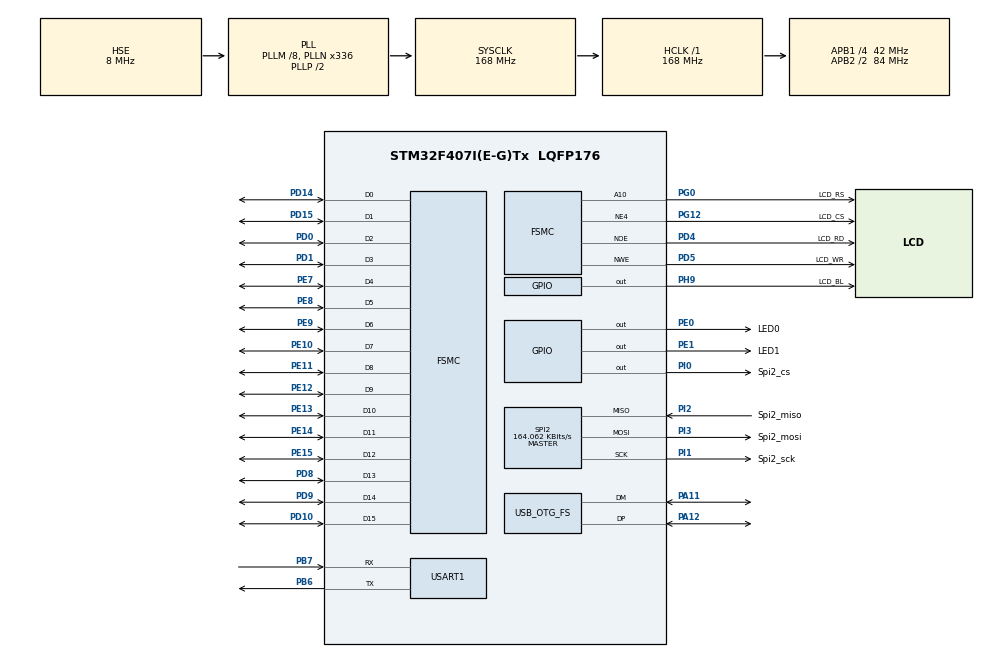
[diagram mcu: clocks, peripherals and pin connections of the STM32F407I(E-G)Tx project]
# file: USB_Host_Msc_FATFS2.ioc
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FATFS._FS_EXFAT=1
FATFS._FS_NORTC=1
FATFS._USE_LABEL=1
FATFS._USE_LFN=1
FATFS._USE_STRFUNC=1
FATFS._VOLUMES=2
FSMC.DataSetupTime1=60
FSMC.ExtendedAddressSetupTime1=9
FSMC.ExtendedDataSetupTime1=9
FSMC.ExtendedMode1=FSMC_EXTENDED_MODE_ENABLE
Mcu.Family=STM32F4
Mcu.Name=STM32F407I(E-G)Tx
Mcu.Package=LQFP176
NVIC.OTG_FS_IRQn=true\:1\:0\:true\:false\:true\:false
NVIC.PriorityGroup=NVIC_PRIORITYGROUP_2
PA11.Mode=Host_Only
PA11.Signal=USB_OTG_FS_DM
PA12.Mode=Host_Only
PA12.Signal=USB_OTG_FS_DP
PA13.Mode=Serial_Wire
PA13.Signal=SYS_JTMS-SWDIO
PA14.Mode=Serial_Wire
PA14.Signal=SYS_JTCK-SWCLK
PB6.Mode=Asynchronous
PB6.Signal=USART1_TX
PB7.Mode=Asynchronous
PB7.Signal=USART1_RX
PD0.Signal=FSMC_D2_DA2
PD1.Signal=FSMC_D3_DA3
PD10.Signal=FSMC_D15_DA15
PD14.Signal=FSMC_D0_DA0
PD15.Signal=FSMC_D1_DA1
PD4.GPIO_Label=LCD_RD
PD4.GPIO_PuPd=GPIO_PULLUP
PD4.Signal=FSMC_NOE
PD5.GPIO_Label=LCD_WR
PD5.GPIO_PuPd=GPIO_PULLUP
PD5.Signal=FSMC_NWE
PD8.Signal=FSMC_D13_DA13
PD9.Signal=FSMC_D14_DA14
PE0.GPIO_Label=LED0
PE0.GPIO_Speed=GPIO_SPEED_FREQ_HIGH
PE0.PinState=GPIO_PIN_SET
PE0.Signal=GPIO_Output
PE1.GPIO_Label=LED1
PE1.GPIO_Speed=GPIO_SPEED_FREQ_HIGH
PE1.PinState=GPIO_PIN_SET
PE1.Signal=GPIO_Output
PE10.Signal=FSMC_D7_DA7
PE11.Signal=FSMC_D8_DA8
PE12.Signal=FSMC_D9_DA9
PE13.Signal=FSMC_D10_DA10
PE14.Signal=FSMC_D11_DA11
PE15.Signal=FSMC_D12_DA12
PE7.Signal=FSMC_D4_DA4
PE8.Signal=FSMC_D5_DA5
PE9.Signal=FSMC_D6_DA6
PG0.GPIO_Label=LCD_RS
PG0.GPIO_PuPd=GPIO_PULLUP
PG0.Signal=FSMC_A10
PG12.GPIO_Label=LCD_CS
PG12.GPIO_PuPd=GPIO_PULLUP
PG12.Mode=NorPsramChipSelect4_1
PG12.Signal=FSMC_NE4
PH0-OSC_IN.Mode=HSE-External-Oscillator
PH0-OSC_IN.Signal=RCC_OSC_IN
PH1-OSC_OUT.Mode=HSE-External-Oscillator
PH1-OSC_OUT.Signal=RCC_OSC_OUT
PH9.GPIO_Label=LCD_BL
PH9.GPIO_Speed=GPIO_SPEED_FREQ_HIGH
PH9.PinState=GPIO_PIN_SET
PH9.Signal=GPIO_Output
PI0.GPIO_Label=Spi2_cs
PI0.GPIO_PuPd=GPIO_PULLUP
PI0.GPIO_Speed=GPIO_SPEED_FREQ_HIGH
PI0.PinState=GPIO_PIN_SET
PI0.Signal=GPIO_Output
PI1.GPIO_Label=Spi2_sck
PI1.GPIO_PuPd=GPIO_PULLUP
PI1.Mode=Full_Duplex_Master
PI1.Signal=SPI2_SCK
PI2.GPIO_Label=Spi2_miso
PI2.GPIO_PuPd=GPIO_PULLUP
PI2.Mode=Full_Duplex_Master
PI2.Signal=SPI2_MISO
PI3.GPIO_Label=Spi2_mosi
PI3.GPIO_PuPd=GPIO_PULLUP
PI3.Mode=Full_Duplex_Master
PI3.Signal=SPI2_MOSI
ProjectManager.HeapSize=0x200
ProjectManager.StackSize=0x400
ProjectManager.TargetToolchain=MDK-ARM V5
RCC.48MHZClocksFreq_Value=48000000
RCC.AHBFreq_Value=168000000
RCC.APB1CLKDivider=RCC_HCLK_DIV4
RCC.APB1Freq_Value=42000000
RCC.APB1TimFreq_Value=84000000
RCC.APB2CLKDivider=RCC_HCLK_DIV2
RCC.APB2Freq_Value=84000000
RCC.APB2TimFreq_Value=168000000
RCC.CortexFreq_Value=168000000
RCC.HCLKFreq_Value=168000000
RCC.HSE_VALUE=8000000
RCC.HSI_VALUE=16000000
RCC.LSE_VALUE=32768
RCC.PLLM=8
RCC.PLLN=336
RCC.PLLQ=7
RCC.SYSCLKFreq_VALUE=168000000
RCC.SYSCLKSource=RCC_SYSCLKSOURCE_PLLCLK
RCC.VCOOutputFreq_Value=336000000
SH.FSMC_A10.0=FSMC_A10,A10_1
SH.FSMC_D0_DA0.0=FSMC_D0,16b-d1
SH.FSMC_D10_DA10.0=FSMC_D10,16b-d1
SH.FSMC_D11_DA11.0=FSMC_D11,16b-d1
SH.FSMC_D12_DA12.0=FSMC_D12,16b-d1
SH.FSMC_D13_DA13.0=FSMC_D13,16b-d1
SH.FSMC_D14_DA14.0=FSMC_D14,16b-d1
SH.FSMC_D15_DA15.0=FSMC_D15,16b-d1
SH.FSMC_D1_DA1.0=FSMC_D1,16b-d1
SH.FSMC_D2_DA2.0=FSMC_D2,16b-d1
SH.FSMC_D3_DA3.0=FSMC_D3,16b-d1
SH.FSMC_D4_DA4.0=FSMC_D4,16b-d1
SH.FSMC_D5_DA5.0=FSMC_D5,16b-d1
SH.FSMC_D6_DA6.0=FSMC_D6,16b-d1
SH.FSMC_D7_DA7.0=FSMC_D7,16b-d1
SH.FSMC_D8_DA8.0=FSMC_D8,16b-d1
SH.FSMC_D9_DA9.0=FSMC_D9,16b-d1
SH.FSMC_NOE.0=FSMC_NOE,Lcd1
SH.FSMC_NWE.0=FSMC_NWE,Lcd1
SPI2.BaudRatePrescaler=SPI_BAUDRATEPRESCALER_256
SPI2.CLKPhase=SPI_PHASE_2EDGE
SPI2.CLKPolarity=SPI_POLARITY_HIGH
SPI2.CalculateBaudRate=164.062 KBits/s
SPI2.Direction=SPI_DIRECTION_2LINES
SPI2.Mode=SPI_MODE_MASTER
SPI2.VirtualType=VM_MASTER
USART1.VirtualMode=VM_ASYNC
USB_HOST.USBH_HandleTypeDef-MSC_FS=hUsbHostFS
USB_HOST.VirtualModeFS=Msc
USB_OTG_FS.VirtualMode=Host_Only
USB_OTG_FS.phy_itface=HCD_PHY_EMBEDDED
VP_FATFS_VS_Generic.Mode=User_defined
VP_USB_HOST_VS_USB_HOST_MSC_FS.Mode=MSC_FS
board=USB_Host_Msc_FATFS2

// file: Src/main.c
/**
  ******************************************************************************
  * @file           : main.c
  * @brief          : Main program body
  ******************************************************************************
  * This notice applies to any and all portions of this file
  * that are not between comment pairs USER CODE BEGIN and
  * USER CODE END. Other portions of this file, whether
  * inserted by the user or by software development tools
  * are owned by their respective copyright owners.
  *
  * Copyright (c) 2024 STMicroelectronics International N.V.
  * All rights reserved.
  *
  * Redistribution and use in source and binary forms, with or without
  * modification, are permitted, provided that the following conditions are met:
  *
  * 1. Redistribution of source code must retain the above copyright notice,
  *    this list of conditions and the following disclaimer.
  * 2. Redistributions in binary form must reproduce the above copyright notice,
  *    this list of conditions and the following disclaimer in the documentation
  *    and/or other materials provided with the distribution.
  * 3. Neither the name of STMicroelectronics nor the names of other
  *    contributors to this software may be used to endorse or promote products
  *    derived from this software without specific written permission.
  * 4. This software, including modifications and/or derivative works of this
  *    software, must execute solely and exclusively on microcontroller or
  *    microprocessor devices manufactured by or for STMicroelectronics.
  * 5. Redistribution and use of this software other than as permitted under
  *    this license is void and will automatically terminate your rights under
  *    this license.
  *
  * THIS SOFTWARE IS PROVIDED BY STMICROELECTRONICS AND CONTRIBUTORS "AS IS"
  * AND ANY EXPRESS, IMPLIED OR STATUTORY WARRANTIES, INCLUDING, BUT NOT
  * LIMITED TO, THE IMPLIED WARRANTIES OF MERCHANTABILITY, FITNESS FOR A
  * PARTICULAR PURPOSE AND NON-INFRINGEMENT OF THIRD PARTY INTELLECTUAL PROPERTY
  * RIGHTS ARE DISCLAIMED TO THE FULLEST EXTENT PERMITTED BY LAW. IN NO EVENT
  * SHALL STMICROELECTRONICS OR CONTRIBUTORS BE LIABLE FOR ANY DIRECT, INDIRECT,
  * INCIDENTAL, SPECIAL, EXEMPLARY, OR CONSEQUENTIAL DAMAGES (INCLUDING, BUT NOT
  * LIMITED TO, PROCUREMENT OF SUBSTITUTE GOODS OR SERVICES; LOSS OF USE, DATA,
  * OR PROFITS; OR BUSINESS INTERRUPTION) HOWEVER CAUSED AND ON ANY THEORY OF
  * LIABILITY, WHETHER IN CONTRACT, STRICT LIABILITY, OR TORT (INCLUDING
  * NEGLIGENCE OR OTHERWISE) ARISING IN ANY WAY OUT OF THE USE OF THIS SOFTWARE,
  * EVEN IF ADVISED OF THE POSSIBILITY OF SUCH DAMAGE.
  *
  ******************************************************************************
  */
#include "main.h"
#include "stm32f4xx_hal.h"
#include "fatfs.h"
#include "spi.h"
#include "usart.h"
#include "usb_host.h"
#include "gpio.h"
#include "fsmc.h"

/* USER CODE BEGIN Includes */
#include "lcd.h"
#include "stdio.h"
#include "delay.h"

#include "usbh_def.h"  //USBH_HandleTypeDef

#include "norflash.h"
#include "usbh_core.h"
#include "usbh_msc.h"
#include "exfuns.h"
/* USER CODE END Includes */

/* USER CODE BEGIN PV */
/* Private variables ---------------------------------------------------------*/
//lcd
uint8_t lcd_id[12];
uint16_t colors[12] = {WHITE, BLACK, BLUE, RED, MAGENTA, GREEN, CYAN, YELLOW, BRRED, GRAY, LGRAY, BROWN};
uint8_t color_index = 0;

//USBH_HandleTypeDef hUSBHost;    /* USB Host处理结构体
extern USBH_HandleTypeDef hUsbHostFS;    /* USB Host处理结构体 在usb_host.c中定义*/
uint8_t t = 0;
/* USER CODE END PV */

void SystemClock_Config(void);
void MX_USB_HOST_Process(void);

/* USER CODE BEGIN PFP */
/* Private function prototypes -----------------------------------------------*/

/* USER CODE END PFP */

int main(void)
{

  /* MCU Configuration----------------------------------------------------------*/

  /* Reset of all peripherals, Initializes the Flash interface and the Systick. */
  HAL_Init();

  /* Configure the system clock */
  SystemClock_Config();

  /* Initialize all configured peripherals */
  MX_GPIO_Init();
  MX_USART1_UART_Init();
  MX_USB_HOST_Init();
  MX_FSMC_Init();
  MX_SPI2_Init();
  MX_FATFS_Init();
  /* USER CODE BEGIN 2 */
  //lcd init
	delay_init(168);                    // 延时初始化
	lcd_init();                             // 初始化LCD
  sprintf((char *)lcd_id, "LCD ID:%04X", lcddev.id);  // 将LCD ID打印到lcd_id数组

	my_mem_init(SRAMIN);                /* 初始化内部SRAM内存池 */
	my_mem_init(SRAMCCM);               /* 初始化内部SRAMCCM内存池 */

	exfuns_init();                      /* 为fatfs相关变量申请内存 */

	lcd_show_string(30, 50, 200, 16, 16, "STM32", RED);
	lcd_show_string(30, 70, 200, 16, 16, "USB U Disk TEST", RED);
	lcd_show_string(30, 90, 200, 16, 16, "ATOM@ALIENTEK", RED);

	lcd_show_string(30, 110, 200, 16, 16, "USB Connecting...", RED);    /* 提示USB开始连接 */
  /* USER CODE END 2 */

  /* Infinite loop */
  /* USER CODE BEGIN WHILE */
  while (1)
  {
		//lcd test
		/*
		lcd_clear(colors[color_index]);  //清屏

		lcd_show_string(10, 40, 240, 32, 32, "STM32", RED);
		lcd_show_string(10, 80, 240, 24, 24, "TFTLCD TEST", RED);
		lcd_show_string(10, 110, 240, 16, 16, "ATOM@ALIENTEK", RED);
		lcd_show_string(10, 130, 240, 16, 16, (char *)lcd_id, RED); // 显示LCD ID
		color_index++;

		if (color_index == 12){
				color_index = 0;
		}
		HAL_GPIO_TogglePin(LED0_GPIO_Port, LED0_Pin); // LED0闪烁
		HAL_Delay(1000);
		*/
		//USBH_Process(&hUsbHostFS);
		delay_ms(10);
		t++;

		if (t == 50)
		{
				t = 0;
				HAL_GPIO_TogglePin(LED0_GPIO_Port, LED0_Pin);
		}
  /* USER CODE END WHILE */
    MX_USB_HOST_Process();

  }

}

void SystemClock_Config(void)
{

  RCC_OscInitTypeDef RCC_OscInitStruct;
  RCC_ClkInitTypeDef RCC_ClkInitStruct;

    /**Configure the main internal regulator output voltage
    */
  __HAL_RCC_PWR_CLK_ENABLE();

  __HAL_PWR_VOLTAGESCALING_CONFIG(PWR_REGULATOR_VOLTAGE_SCALE1);

    /**Initializes the CPU, AHB and APB busses clocks
    */
  RCC_OscInitStruct.OscillatorType = RCC_OSCILLATORTYPE_HSE;
  RCC_OscInitStruct.HSEState = RCC_HSE_ON;
  RCC_OscInitStruct.PLL.PLLState = RCC_PLL_ON;
  RCC_OscInitStruct.PLL.PLLSource = RCC_PLLSOURCE_HSE;
  RCC_OscInitStruct.PLL.PLLM = 8;
  RCC_OscInitStruct.PLL.PLLN = 336;
  RCC_OscInitStruct.PLL.PLLP = RCC_PLLP_DIV2;
  RCC_OscInitStruct.PLL.PLLQ = 7;
  if (HAL_RCC_OscConfig(&RCC_OscInitStruct) != HAL_OK)
  {
    _Error_Handler(__FILE__, __LINE__);
  }

    /**Initializes the CPU, AHB and APB busses clocks
    */
  RCC_ClkInitStruct.ClockType = RCC_CLOCKTYPE_HCLK|RCC_CLOCKTYPE_SYSCLK
                              |RCC_CLOCKTYPE_PCLK1|RCC_CLOCKTYPE_PCLK2;
  RCC_ClkInitStruct.SYSCLKSource = RCC_SYSCLKSOURCE_PLLCLK;
  RCC_ClkInitStruct.AHBCLKDivider = RCC_SYSCLK_DIV1;
  RCC_ClkInitStruct.APB1CLKDivider = RCC_HCLK_DIV4;
  RCC_ClkInitStruct.APB2CLKDivider = RCC_HCLK_DIV2;

  if (HAL_RCC_ClockConfig(&RCC_ClkInitStruct, FLASH_LATENCY_5) != HAL_OK)
  {
    _Error_Handler(__FILE__, __LINE__);
  }

    /**Configure the Systick interrupt time
    */
  HAL_SYSTICK_Config(HAL_RCC_GetHCLKFreq()/1000);

    /**Configure the Systick
    */
  HAL_SYSTICK_CLKSourceConfig(SYSTICK_CLKSOURCE_HCLK);

  /* SysTick_IRQn interrupt configuration */
  HAL_NVIC_SetPriority(SysTick_IRQn, 0, 0);
}

void _Error_Handler(char *file, int line)
{
  while(1)
  {
  }
}

/************************ (C) COPYRIGHT STMicroelectronics *****END OF FILE****/
